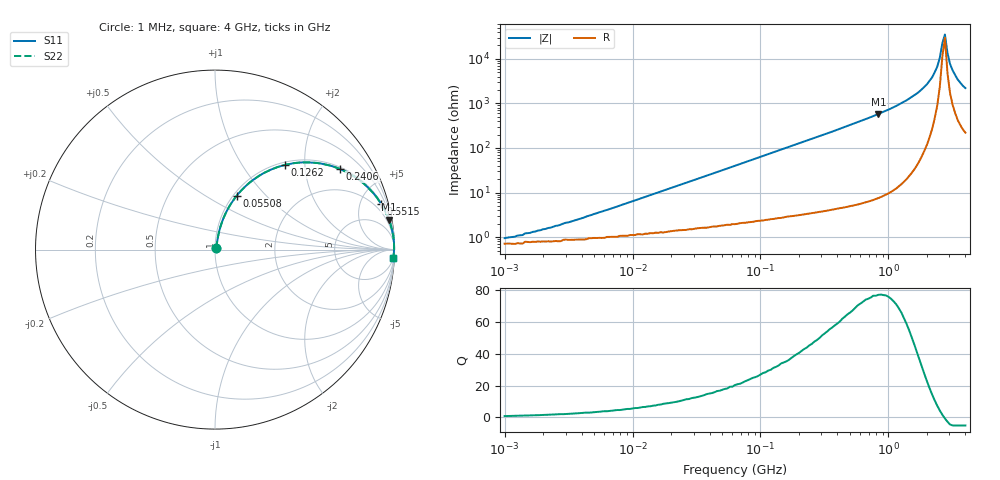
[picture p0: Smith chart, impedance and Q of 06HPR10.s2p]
# MHz S MA R 50
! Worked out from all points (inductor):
!   181 points, 1 MHz to 4 GHz, reference 50 ohm
!   read as one part in series: L = 100 nH near 4.369 MHz
!   highest Q = 77 at 835 MHz (marker M1), where L = 110 nH
!   self-resonance near 2.642 GHz
!   S11 on the Smith chart (normalised r, x): 1 MHz: 1.01, +0.01; 55.08 MHz: 1.04, +0.69; 126.2 MHz: 1.05, +1.59; 240.6 MHz: 1.07, +3.05; 551.5 MHz: 1.11, +7.22; 4 GHz: 6, -43
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1  0.009488 40.8  0.993 -0.4  0.993 -0.4  0.009488 40.8
1.585  0.012 51.9  0.992 -0.6  0.992 -0.6  0.012 51.9
4.172  0.027 69.4  0.991 -1.5  0.991 -1.5  0.027 69.4
16.623  0.103 77.2  0.982 -5.9  0.982 -5.9  0.103 77.2
55.08  0.322 68.1  0.929 -18.8  0.929 -18.8  0.322 68.1
63.246  0.364 65.9  0.914 -21.3  0.914 -21.3  0.364 65.9
126.241  0.613 50.4  0.771 -37.8  0.771 -37.8  0.613 50.4
240.637  0.828 32.9  0.543 -55.8  0.543 -55.8  0.828 32.9
263.867  0.851 30.5  0.508 -58.3  0.508 -58.3  0.851 30.5
551.528  0.96 15.4  0.266 -73.8  0.266 -73.8  0.96 15.4
834.97  0.983 9.8  0.17 -79.5  0.17 -79.5  0.983 9.8
1003.961  0.989 7.8  0.136 -81.5  0.136 -81.5  0.989 7.8
1519.916  0.996 4.1  0.072 -84.7  0.072 -84.7  0.996 4.1
2003.957  0.998 2.1  0.037 -85.4  0.037 -85.4  0.998 2.1
2409.54  0.998 0.8  0.015 -81.5  0.015 -81.5  0.998 0.8
2523.164  0.998 0.5  0.009446 -76.6  0.009446 -76.6  0.998 0.5
2642.147  0.998 0.2  0.004452 -59.6  0.004452 -59.6  0.998 0.2
2766.741  0.998 -0.1  0.002834 32.0  0.002834 32.0  0.998 -0.1
2897.209  0.997 -0.4  0.007327 69.0  0.007327 69.0  0.997 -0.4
3033.831  0.997 -0.7  0.013 76.5  0.013 76.5  0.997 -0.7
3483.579  0.996 -1.6  0.029 81.3  0.029 81.3  0.996 -1.6
4000  0.994 -2.6  0.045 81.7  0.045 81.7  0.994 -2.6
